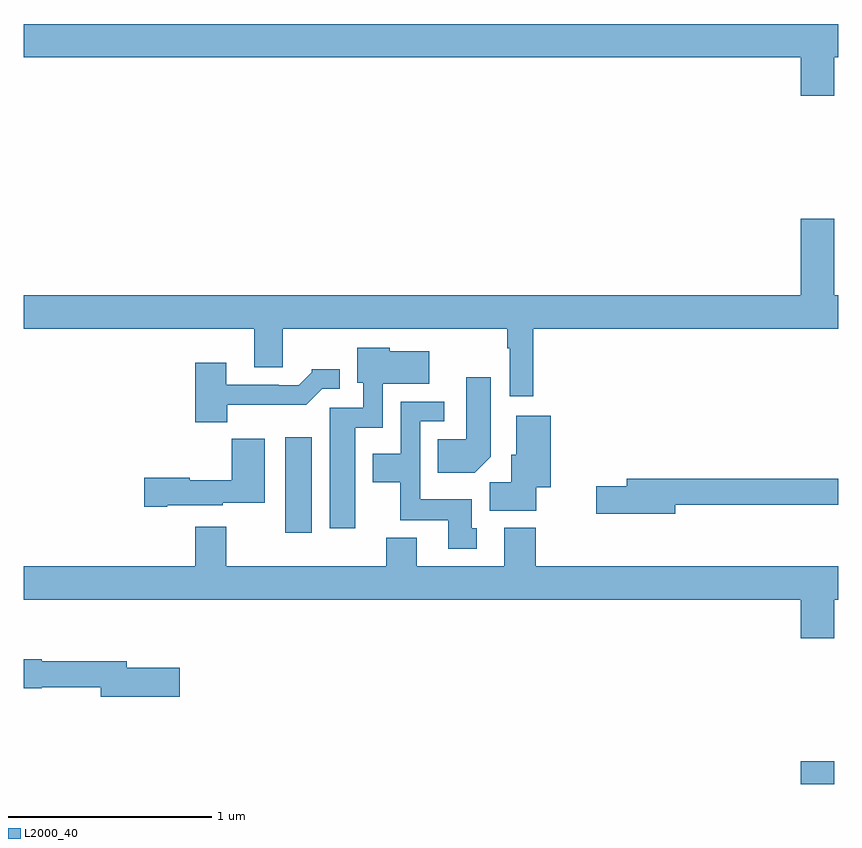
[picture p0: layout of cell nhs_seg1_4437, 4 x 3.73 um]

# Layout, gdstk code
import gdstk
lib = gdstk.Library(unit=1e-6, precision=1e-09)
def R(c, l, rs):  # rectangles x0, y0, x1, y1
    for r in rs: c.add(gdstk.rectangle(r[:2], r[2:], *l))
def P(c, l, *ps):  # polygons
    for p in ps: c.add(gdstk.Polygon(p, *l))
L2000_40 = (2000, 40)

nhs_seg1_4437 = lib.new_cell('nhs_seg1_4437')
R(nhs_seg1_4437, L2000_40, [(356.816,512.199,356.98,512.311), (354.284,513.432,354.415,513.901)])
P(nhs_seg1_4437, L2000_40, [(356.98,515.768),(357,515.768),(357,515.932),(353,515.932),(353,515.768),(356.816,515.768),(356.816,515.58),(356.98,515.58)],
  [(355.502,514.436),(357,514.436),(357,514.6),(356.98,514.6),(356.98,514.975),(356.816,514.975),(356.816,514.6),(353,514.6),(353,514.436),(354.131,514.436),(354.131,514.246),(354.271,514.246),(354.271,514.436),(355.374,514.436),(355.374,514.34),(355.386,514.34),(355.386,514.104),(355.502,514.104)],
  [(354.628,513.95),(354.762,513.95),(354.762,514.166),(354.991,514.166),(354.991,514.324),(354.798,514.324),(354.798,514.342),(354.638,514.342),(354.638,514.17),(354.666,514.17),(354.666,514.047),(354.503,514.047),(354.503,513.456),(354.628,513.456)],
  [(353.998,514.062),(354.387,514.062),(354.465,514.14),(354.553,514.14),(354.553,514.237),(354.414,514.237),(354.414,514.222),(354.35,514.158),(354.251,514.158),(354.251,514.161),(353.995,514.161),(353.995,514.267),(353.843,514.267),(353.843,513.977),(353.998,513.977)],
  [(355.294,513.806),(355.294,514.198),(355.172,514.198),(355.172,513.892),(355.033,513.892),(355.033,513.728),(355.216,513.728)],
  [(355.225,513.456),(355.201,513.456),(355.201,513.598),(354.948,513.598),(354.948,513.981),(355.066,513.981),(355.066,514.077),(354.852,514.077),(354.852,513.82),(354.713,513.82),(354.713,513.68),(354.85,513.68),(354.85,513.494),(355.085,513.494),(355.085,513.354),(355.225,513.354)],
  [(355.516,513.656),(355.589,513.656),(355.589,514.009),(355.418,514.009),(355.418,513.816),(355.394,513.816),(355.394,513.68),(355.289,513.68),(355.289,513.542),(355.516,513.542)],
  [(353.704,513.569),(353.976,513.569),(353.976,513.581),(354.184,513.581),(354.184,513.895),(354.022,513.895),(354.022,513.691),(353.814,513.691),(353.814,513.704),(353.592,513.704),(353.592,513.562),(353.704,513.562)],
  [(356.2,513.57),(357,513.57),(357,513.698),(355.961,513.698),(355.961,513.662),(355.812,513.662),(355.812,513.527),(356.2,513.527)],
  [(356.98,513.104),(357,513.104),(357,513.268),(355.514,513.268),(355.514,513.457),(355.361,513.457),(355.361,513.268),(354.931,513.268),(354.931,513.409),(354.779,513.409),(354.779,513.268),(353.995,513.268),(353.995,513.463),(353.843,513.463),(353.843,513.268),(353,513.268),(353,513.104),(356.816,513.104),(356.816,512.916),(356.98,512.916)],
  [(353.767,512.769),(353.506,512.769),(353.506,512.803),(353.088,512.803),(353.088,512.811),(353,512.811),(353,512.669),(353.088,512.669),(353.088,512.674),(353.378,512.674),(353.378,512.627),(353.767,512.627)])

lib.write_gds('nhs_seg1_4437.gds')
